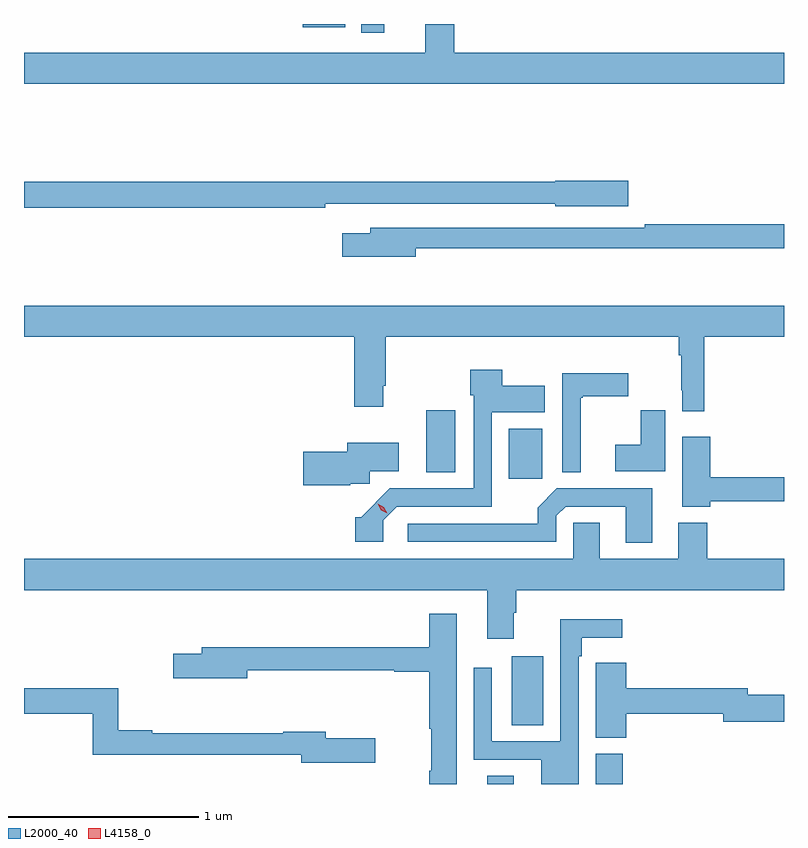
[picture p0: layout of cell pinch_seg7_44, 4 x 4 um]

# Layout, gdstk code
import gdstk
lib = gdstk.Library(unit=1e-6, precision=1e-09)
def R(c, l, rs):  # rectangles x0, y0, x1, y1
    for r in rs: c.add(gdstk.rectangle(r[:2], r[2:], *l))
def P(c, l, *ps):  # polygons
    for p in ps: c.add(gdstk.Polygon(p, *l))
L2000_40 = (2000, 40)
L4158_0 = (4158, 0)

pinch_seg7_44 = lib.new_cell('pinch_seg7_44')
R(pinch_seg7_44, L2000_40, [(1011.254,1052.875,1011.394,1052.918), (1011.824,1052.875,1011.968,1053.033), (1011.383,1053.184,1011.55,1053.547), (1011.368,1054.481,1011.544,1054.744), (1010.933,1054.516,1011.085,1054.843), (1010.591,1056.828,1010.713,1056.875), (1010.282,1056.857,1010.506,1056.875)])
P(pinch_seg7_44, L2000_40, [(1012.816,1056.724),(1011.08,1056.724),(1011.08,1056.875),(1010.927,1056.875),(1010.927,1056.724),(1008.816,1056.724),(1008.816,1056.56),(1012.816,1056.56)],
  [(1010.402,1055.928),(1011.612,1055.928),(1011.612,1055.915),(1011.997,1055.915),(1011.997,1056.05),(1011.612,1056.05),(1011.612,1056.044),(1008.816,1056.044),(1008.816,1055.908),(1010.402,1055.908)],
  [(1010.878,1055.694),(1012.816,1055.694),(1012.816,1055.822),(1012.084,1055.822),(1012.084,1055.802),(1010.639,1055.802),(1010.639,1055.773),(1010.49,1055.773),(1010.49,1055.651),(1010.878,1055.651)],
  [(1012.397,1055.228),(1012.816,1055.228),(1012.816,1055.392),(1008.816,1055.392),(1008.816,1055.228),(1010.555,1055.228),(1010.555,1054.86),(1010.707,1054.86),(1010.707,1054.972),(1010.72,1054.972),(1010.72,1055.228),(1012.261,1055.228),(1012.261,1055.132),(1012.276,1055.132),(1012.276,1054.948),(1012.281,1054.948),(1012.281,1054.836),(1012.397,1054.836)],
  [(1010.706,1054.263),(1010.778,1054.335),(1011.279,1054.335),(1011.279,1054.832),(1011.556,1054.832),(1011.556,1054.972),(1011.333,1054.972),(1011.333,1055.056),(1011.164,1055.056),(1011.164,1054.92),(1011.183,1054.92),(1011.183,1054.431),(1010.742,1054.431),(1010.59,1054.279),(1010.559,1054.279),(1010.559,1054.149),(1010.706,1054.149)],
  [(1011.746,1054.909),(1011.757,1054.909),(1011.757,1054.916),(1011.997,1054.916),(1011.997,1055.038),(1011.648,1055.038),(1011.648,1054.516),(1011.746,1054.516)],
  [(1012.192,1054.843),(1012.063,1054.843),(1012.063,1054.66),(1011.927,1054.66),(1011.927,1054.52),(1012.192,1054.52)],
  [(1012.427,1054.362),(1012.816,1054.362),(1012.816,1054.49),(1012.427,1054.49),(1012.427,1054.702),(1012.28,1054.702),(1012.28,1054.334),(1012.427,1054.334)],
  [(1010.534,1054.455),(1010.637,1054.455),(1010.637,1054.52),(1010.788,1054.52),(1010.788,1054.672),(1010.516,1054.672),(1010.516,1054.625),(1010.286,1054.625),(1010.286,1054.447),(1010.534,1054.447)],
  [(1012.123,1054.431),(1011.621,1054.431),(1011.52,1054.329),(1011.52,1054.245),(1010.835,1054.245),(1010.835,1054.149),(1011.618,1054.149),(1011.618,1054.287),(1011.666,1054.335),(1011.983,1054.335),(1011.983,1054.146),(1012.123,1054.146)],
  [(1011.394,1053.776),(1011.407,1053.776),(1011.407,1053.896),(1012.816,1053.896),(1012.816,1054.06),(1012.412,1054.06),(1012.412,1054.249),(1012.259,1054.249),(1012.259,1054.06),(1011.847,1054.06),(1011.847,1054.25),(1011.708,1054.25),(1011.708,1054.06),(1008.816,1054.06),(1008.816,1053.896),(1011.254,1053.896),(1011.254,1053.639),(1011.394,1053.639)],
  [(1011.094,1053.772),(1010.948,1053.772),(1010.948,1053.595),(1009.751,1053.595),(1009.751,1053.561),(1009.602,1053.561),(1009.602,1053.431),(1009.99,1053.431),(1009.99,1053.474),(1010.764,1053.474),(1010.764,1053.466),(1010.948,1053.466),(1010.948,1053.167),(1010.96,1053.167),(1010.96,1052.944),(1010.948,1052.944),(1010.948,1052.875),(1011.094,1052.875)],
  [(1011.735,1053.548),(1011.751,1053.548),(1011.751,1053.644),(1011.964,1053.644),(1011.964,1053.742),(1011.639,1053.742),(1011.639,1053.099),(1011.279,1053.099),(1011.279,1053.487),(1011.183,1053.487),(1011.183,1053.003),(1011.539,1053.003),(1011.539,1052.875),(1011.735,1052.875)],
  [(1011.986,1053.244),(1012.496,1053.244),(1012.496,1053.202),(1012.816,1053.202),(1012.816,1053.344),(1012.624,1053.344),(1012.624,1053.38),(1011.986,1053.38),(1011.986,1053.514),(1011.825,1053.514),(1011.825,1053.401),(1011.824,1053.401),(1011.824,1053.118),(1011.986,1053.118)],
  [(1010.665,1053.117),(1010.404,1053.117),(1010.404,1053.151),(1010.18,1053.151),(1010.18,1053.143),(1009.49,1053.143),(1009.49,1053.158),(1009.313,1053.158),(1009.313,1053.38),(1008.816,1053.38),(1008.816,1053.244),(1009.177,1053.244),(1009.177,1053.03),(1010.276,1053.03),(1010.276,1052.987),(1010.665,1052.987)])
P(pinch_seg7_44, L4158_0, [(1010.729,1054.3),(1010.696,1054.317),(1010.677,1054.349),(1010.677,1054.349),(1010.677,1054.349),(1010.71,1054.332),(1010.729,1054.3),(1010.729,1054.3)])

lib.write_gds('pinch_seg7_44.gds')
